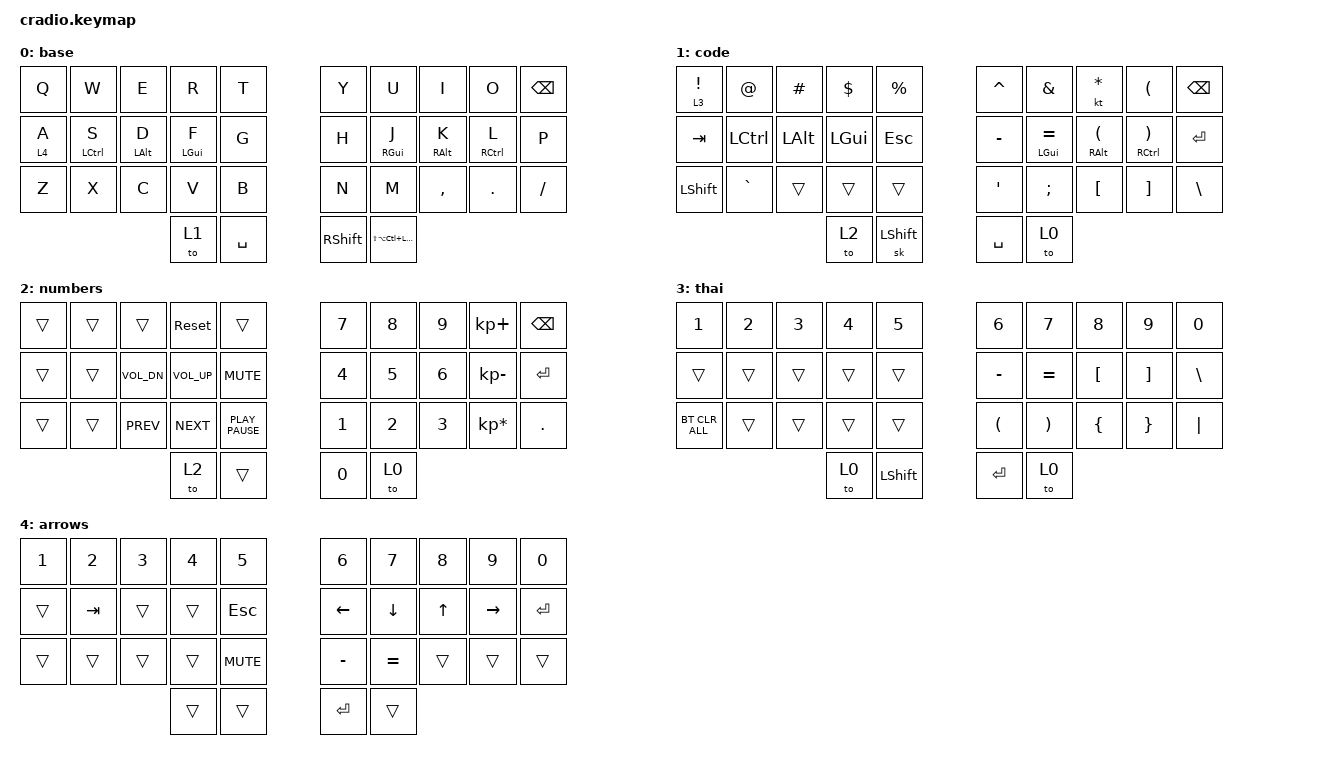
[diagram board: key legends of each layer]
// Copyright (c) 2022 The ZMK Contributors
// SPDX-License-Identifier: MIT

#include <behaviors.dtsi>
#include <dt-bindings/zmk/bt.h>
#include <dt-bindings/zmk/keys.h>
#include <dt-bindings/zmk/keys.h>

&lt { tapping-term-ms = <400>; };

/ {
    combos {
        compatible = "zmk,combos";

        lang {
            bindings = <&kp LG(SPACE)>;
            key-positions = <14 15>;
        };
    };

    behaviors {
        hm: homerow_mods {
            compatible = "zmk,behavior-hold-tap";
            label = "HOMEROW_MODS";
            bindings = <&kp>, <&kp>;

            #binding-cells = <2>;
            tapping-term-ms = <200>;
            flavor = "tap-preferred";
        };

        lhm: left_homerow_mod {
            compatible = "zmk,behavior-hold-tap";
            label = "LEFT_HOMEROW_MOD";
            bindings = <&kp>, <&kp>;

            #binding-cells = <2>;
            tapping-term-ms = <100>;
            quick-tap-ms = <200>;
            flavor = "tap-unless-interrupted";
            hold-trigger-key-positions = <5 6 7 8 9 15 16 17 18 19 25 26 27 28 29 32 33>;
        };

        rhm: right_homerow_mode {
            compatible = "zmk,behavior-hold-tap";
            label = "RIGHT_HOMEROW_MOD";
            bindings = <&kp>, <&kp>;

            #binding-cells = <2>;
            tapping-term-ms = <100>;
            quick-tap-ms = <200>;
            flavor = "tap-unless-interrupted";
            hold-trigger-key-positions = <0 1 2 3 4 10 11 12 13 14 20 21 22 23 24 30 31>;
        };
    };

    keymap {
        compatible = "zmk,keymap";

        base {
            bindings = <
&kp Q    &kp W         &kp E            &kp R        &kp T        &kp Y            &kp U                     &kp I             &kp O         &kp BACKSPACE
&lt 4 A  &lhm LCTRL S  &lhm LEFT_ALT D  &lhm LGUI F  &kp G        &kp H            &rhm RGUI J               &rhm RIGHT_ALT K  &rhm RCTRL L  &kp P
&kp Z    &kp X         &kp C            &kp V        &kp B        &kp N            &kp M                     &kp COMMA         &kp DOT       &kp FSLH
                                        &to 1        &kp SPACE    &kp RIGHT_SHIFT  &kp LS(LA(LC(LEFT_GUI)))
            >;
        };

        code {
            bindings = <
&lt 3 EXCLAMATION  &kp AT_SIGN  &kp HASH      &kp DOLLAR  &kp PERCENT       &kp CARET  &kp AMPERSAND   &kt ASTERISK               &kp LEFT_PARENTHESIS         &kp BACKSPACE
&kp TAB            &kp LCTRL    &kp LEFT_ALT  &kp LGUI    &kp ESCAPE        &kp MINUS  &hm LGUI EQUAL  &hm RALT LEFT_PARENTHESIS  &hm RCTRL RIGHT_PARENTHESIS  &kp ENTER
&kp LEFT_SHIFT     &kp GRAVE    &trans        &trans      &trans            &kp SQT    &kp SEMICOLON   &kp LEFT_BRACKET           &kp RIGHT_BRACKET            &kp BACKSLASH
                                              &to 2       &sk LEFT_SHIFT    &kp SPACE  &to 0
            >;
        };

        numbers {
            bindings = <
&trans  &trans  &trans        &sys_reset       &trans              &kp NUMBER_7  &kp NUMBER_8  &kp NUMBER_9  &kp KP_PLUS      &kp BACKSPACE
&trans  &trans  &kp C_VOL_DN  &kp C_VOLUME_UP  &kp K_MUTE          &kp NUMBER_4  &kp NUMBER_5  &kp NUMBER_6  &kp KP_MINUS     &kp ENTER
&trans  &trans  &kp K_PREV    &kp K_NEXT       &kp K_PLAY_PAUSE    &kp NUMBER_1  &kp NUMBER_2  &kp NUMBER_3  &kp KP_MULTIPLY  &kp PERIOD
                              &to 2            &trans              &kp NUMBER_0  &to 0
            >;
        };

        thai {
            bindings = <
&kp N1          &kp N2  &kp N3  &kp N4  &kp N5            &kp N6                &kp N7                 &kp N8          &kp N9           &kp N0
&trans          &trans  &trans  &trans  &trans            &kp MINUS             &kp EQUAL              &kp LBKT        &kp RBKT         &kp BSLH
&bt BT_CLR_ALL  &trans  &trans  &trans  &trans            &kp LEFT_PARENTHESIS  &kp RIGHT_PARENTHESIS  &kp LEFT_BRACE  &kp RIGHT_BRACE  &kp PIPE
                                &to 0   &kp LEFT_SHIFT    &kp ENTER             &to 0
            >;
        };

        arrows {
            bindings = <
&kp NUMBER_1  &kp NUMBER_2  &kp NUMBER_3  &kp NUMBER_4  &kp N5        &kp NUMBER_6  &kp N7          &kp N8        &kp N9     &kp N0
&trans        &kp TAB       &trans        &trans        &kp ESCAPE    &kp LEFT      &kp DOWN_ARROW  &kp UP_ARROW  &kp RIGHT  &kp ENTER
&trans        &trans        &trans        &trans        &kp K_MUTE    &kp MINUS     &kp EQUAL       &trans        &trans     &trans
                                          &trans        &trans        &kp ENTER     &trans
            >;
        };
    };
};
